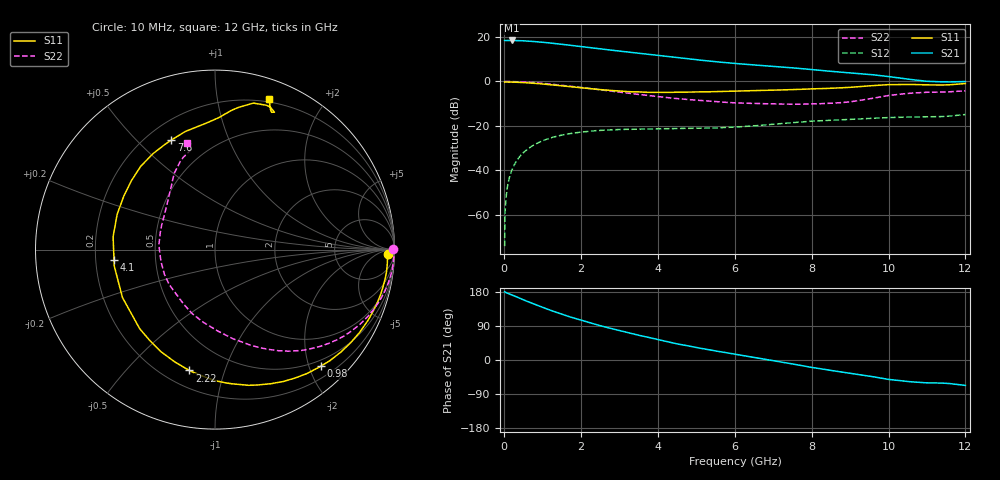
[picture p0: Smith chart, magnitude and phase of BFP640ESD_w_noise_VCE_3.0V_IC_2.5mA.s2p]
! Infineon Technologies  Discrete & RF Semiconductors
! BFP640ESD
! VCE =  3.0 V,  IC =  2.5 mA
! Common Emitter S-Parameters:  Jan 2016
# GHz  S  MA  R  50
!  f  S11  S21  S12  S22
! GHz  MAG  ANG  MAG  ANG  MAG  ANG  MAG  ANG
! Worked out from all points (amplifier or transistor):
!   243 points, 10 MHz to 12 GHz, reference 50 ohm
!   highest |S21| = 18.4 dB at 200 MHz (marker M1)
!   |S21| within 3 dB of that: start of sweep to 2.122 GHz
!   unconditionally stable (mu >= 1): 5.138 GHz to 9.142 GHz
!   at 240 MHz: K = 0.04, MSG = 28.3 dB, |S12| = -38.2 dB
!   at 1.84 GHz: K = 0.30, MSG = 19.5 dB, |S12| = -23.1 dB
!   at 12 GHz: K = 0.48, MSG = 7.4 dB, |S12| = -14.9 dB
!   lowest NFmin = 0.58 dB at 450 MHz
!   S11 on the Smith chart (normalised r, x): 10 MHz: 40, -25; 980 MHz: 0.39, -2.20; 2.22 GHz: 0.30, -0.77; 4.1 GHz: 0.28, -0.05; 7.6 GHz: 0.30, +0.64; 12 GHz: 0.17, +1.40
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0.01  0.9643 -1.3  8.271 180.0  0.0002 63.6  0.9917 0.3
0.02  0.9662 -1.0  8.221 179.7  0.0011 86.0  0.9999 -0.5
0.045  0.9629 -2.4  8.219 178.0  0.0023 83.0  0.9985 -1.4
0.11  0.9633 -5.5  8.265 175.6  0.0057 85.5  0.997 -3.2
0.2  0.9618 -9.9  8.28 171.7  0.0102 83.8  0.9942 -5.9
0.38  0.95 -18.8  8.206 164.1  0.0193 78.0  0.9825 -11.2
0.6  0.9287 -29.7  8.026 154.6  0.0297 71.4  0.9595 -17.4
0.98  0.8771 -47.8  7.57 139.7  0.0458 60.6  0.9054 -27.7
1.4  0.8097 -67.3  6.941 124.1  0.0595 49.9  0.8324 -38.1
1.7  0.7625 -80.3  6.488 114.1  0.0669 43.4  0.7802 -44.5
2.02  0.7155 -93.6  6.003 104.4  0.0729 37.5  0.7267 -50.8
2.22  0.6882 -102.0  5.735 98.4  0.076 34.1  0.6926 -54.7
2.6  0.6433 -118.0  5.244 87.7  0.0803 28.3  0.6293 -62.0
3  0.6085 -133.6  4.78 77.4  0.0831 23.4  0.5708 -69.3
3.5  0.5807 -152.6  4.277 65.3  0.0849 18.8  0.5086 -78.3
4.1  0.5657 -174.0  3.759 51.7  0.0868 15.1  0.445 -89.9
5  0.5796 160.1  3.063 32.7  0.0884 11.6  0.3788 -109.5
6.1  0.6064 138.6  2.485 13.7  0.0952 11.3  0.3266 -133.1
7.6  0.6573 111.7  1.979 -12.2  0.1203 6.9  0.3073 -171.4
8.2  0.6851 100.7  1.778 -22.6  0.1302 2.1  0.3147 169.1
10.2  0.848 72.9  1.215 -53.4  0.1556 -13.3  0.5027 114.9
12  0.8936 70.4  0.991 -67.1  0.1803 -23.6  0.6141 104.6
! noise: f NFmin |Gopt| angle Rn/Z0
0.45  0.58  0.67  11  0.24
0.9  0.61  0.63  24  0.22
1.9  0.75  0.52  52  0.19
2.4  0.85  0.47  72  0.17
5.5  1.42  0.4  -153  0.18
10  3.03  0.7  -84  1.7
